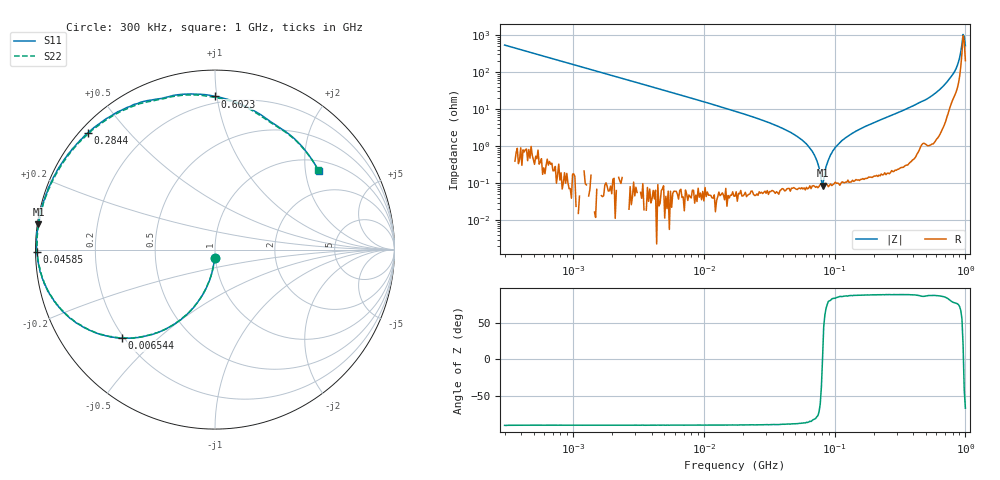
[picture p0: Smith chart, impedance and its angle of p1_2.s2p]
#  HZ  S  RI  R  50
! Rohde & Schwarz ZVA/B
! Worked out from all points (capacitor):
!   401 points, 300 kHz to 1 GHz, reference 50 ohm
!   read as one part in shunt: C = 993 pF near 312.4 kHz
!   lowest |Z| = 85.5 mohm at 80.89 MHz (marker M1)
!   series resonance near 80.86 MHz, so ESL is about 3.9 nH
!   S11 on the Smith chart (normalised r, x): 300 kHz: 0.99, -0.09; 6.544 MHz: 0.19, -0.39; 45.85 MHz: 0.00, -0.01; 284.4 MHz: 0.02, +0.39; 602.3 MHz: 0.16, +0.99; 1 GHz: 1.30, +2.37
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300000  -0.00174 -0.0464  0.9974 -0.0474  0.9982 -0.0472  -0.00199 -0.0457
1167356  -0.0323 -0.1758  0.9676 -0.1782  0.9681 -0.1777  -0.0326 -0.1754
2522766  -0.1346 -0.3396  0.8657 -0.3446  0.8642 -0.3442  -0.1351 -0.34
4542403  -0.3382 -0.4685  0.6613 -0.4772  0.6613 -0.4762  -0.3373 -0.4675
6543576  -0.5179 -0.4925  0.4803 -0.5038  0.4807 -0.5058  -0.5177 -0.4912
1.732051e7  -0.8975 -0.2856  0.1027 -0.3164  0.1028 -0.3168  -0.8961 -0.2864
4.584649e7  -0.9927 -0.0142  0.00373 -0.0947  0.00374 -0.0941  -0.9915 -0.0132
5.847799e7  -0.994 0.05  0.000371 -0.052  -7.82e-05 -0.0519  -0.992 0.0497
6.739735e7  -0.9918 0.0881  0.000737 -0.029  0.000915 -0.0286  -0.9889 0.0888
7.162496e7  -0.9886 0.1079  0.000993 -0.0192  0.00136 -0.0189  -0.9865 0.1063
7.767713e7  -0.9864 0.1293  0.00274 -0.00693  0.00235 -0.00706  -0.9848 0.1282
8.089238e7  -0.9838 0.1407  0.00336 -0.000409  0.00356 -0.000129  -0.9838 0.1395
8.254956e7  -0.9843 0.1454  0.00403 0.0029  0.00398 0.00279  -0.9817 0.1453
9.323049e7  -0.9775 0.1833  0.00787 0.0216  0.00776 0.0214  -0.9747 0.1825
1.118981e8  -0.9634 0.2438  0.0165 0.0493  0.0164 0.0495  -0.9595 0.2426
1.547882e8  -0.9173 0.3653  0.0439 0.0988  0.0442 0.0987  -0.9146 0.3619
2.622557e8  -0.7511 0.6097  0.1444 0.1696  0.1455 0.1692  -0.749 0.6043
2.844158e8  -0.7083 0.6507  0.1697 0.1764  0.1699 0.1761  -0.7079 0.6442
4.1811e8  -0.4137 0.8212  0.3289 0.1547  0.3284 0.1551  -0.4188 0.8132
6.0231e8  -0.00185 0.8536  0.4866 -0.0118  0.4865 -0.0117  -0.0107 0.8498
7.52834e8  0.2768 0.7363  0.515 -0.2266  0.5154 -0.2258  0.2664 0.7374
1e9  0.5785 0.4352  0.3771 -0.5278  0.3782 -0.5287  0.5741 0.443
